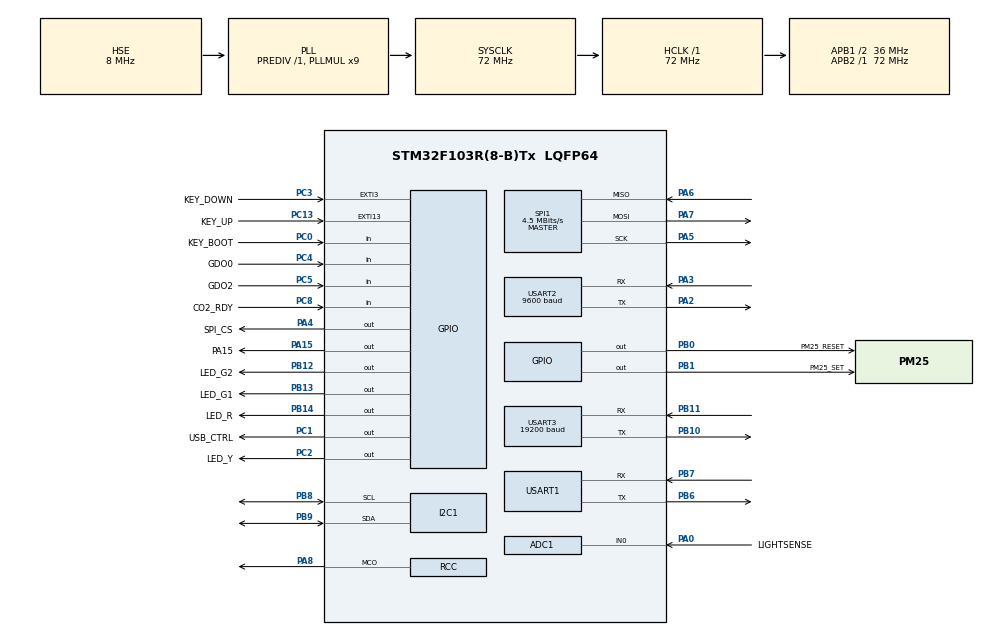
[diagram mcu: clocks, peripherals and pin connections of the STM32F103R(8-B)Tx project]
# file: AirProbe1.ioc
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ADC1.Channel-0\#ChannelRegularConversion=ADC_CHANNEL_0
ADC1.NbrOfConversionFlag=1
ADC1.Rank-0\#ChannelRegularConversion=1
ADC1.SamplingTime-0\#ChannelRegularConversion=ADC_SAMPLETIME_28CYCLES_5
ADC1.master=1
Mcu.Family=STM32F1
Mcu.Name=STM32F103R(8-B)Tx
Mcu.Package=LQFP64
NVIC.EXTI15_10_IRQn=true\:0\:0\:false\:false\:true\:true\:true
NVIC.EXTI3_IRQn=true\:0\:0\:false\:false\:true\:true\:true
NVIC.PriorityGroup=NVIC_PRIORITYGROUP_4
NVIC.USART1_IRQn=true\:0\:0\:false\:false\:true\:true\:true
NVIC.USART2_IRQn=true\:0\:0\:false\:false\:true\:true\:true
PA0-WKUP.GPIO_Label=LIGHTSENSE
PA0-WKUP.Signal=ADCx_IN0
PA13.Mode=Serial_Wire
PA13.Signal=SYS_JTMS-SWDIO
PA14.Mode=Serial_Wire
PA14.Signal=SYS_JTCK-SWCLK
PA15.GPIO_Label=PA15
PA15.GPIO_Speed=GPIO_SPEED_FREQ_HIGH
PA15.Signal=GPIO_Output
PA2.Mode=Asynchronous
PA2.Signal=USART2_TX
PA3.Mode=Asynchronous
PA3.Signal=USART2_RX
PA4.GPIO_Label=SPI_CS
PA4.GPIO_Speed=GPIO_SPEED_FREQ_HIGH
PA4.PinState=GPIO_PIN_SET
PA4.Signal=GPIO_Output
PA5.Mode=Full_Duplex_Master
PA5.Signal=SPI1_SCK
PA6.Mode=Full_Duplex_Master
PA6.Signal=SPI1_MISO
PA7.Mode=Full_Duplex_Master
PA7.Signal=SPI1_MOSI
PA8.Mode=Clock-out
PA8.Signal=RCC_MCO
PB0.GPIO_Label=PM25_RESET
PB0.PinState=GPIO_PIN_RESET
PB0.Signal=GPIO_Output
PB1.GPIO_Label=PM25_SET
PB1.PinState=GPIO_PIN_RESET
PB1.Signal=GPIO_Output
PB10.Mode=Asynchronous
PB10.Signal=USART3_TX
PB11.Mode=Asynchronous
PB11.Signal=USART3_RX
PB12.GPIO_Label=LED_G2
PB12.GPIO_Speed=GPIO_SPEED_FREQ_HIGH
PB12.PinState=GPIO_PIN_SET
PB12.Signal=GPIO_Output
PB13.GPIO_Label=LED_G1
PB13.GPIO_Speed=GPIO_SPEED_FREQ_HIGH
PB13.PinState=GPIO_PIN_SET
PB13.Signal=GPIO_Output
PB14.GPIO_Label=LED_R
PB14.GPIO_Speed=GPIO_SPEED_FREQ_HIGH
PB14.PinState=GPIO_PIN_SET
PB14.Signal=GPIO_Output
PB6.Mode=Asynchronous
PB6.Signal=USART1_TX
PB7.Mode=Asynchronous
PB7.Signal=USART1_RX
PB8.Mode=I2C
PB8.Signal=I2C1_SCL
PB9.Mode=I2C
PB9.Signal=I2C1_SDA
PC0.GPIO_Label=KEY_BOOT
PC0.GPIO_PuPd=GPIO_PULLUP
PC0.Signal=GPIO_Input
PC1.GPIO_Label=USB_CTRL
PC1.GPIO_Speed=GPIO_SPEED_FREQ_MEDIUM
PC1.PinState=GPIO_PIN_SET
PC1.Signal=GPIO_Output
PC13-TAMPER-RTC.GPIO_Label=KEY_UP
PC13-TAMPER-RTC.GPIO_ModeDefaultEXTI=GPIO_MODE_IT_RISING_FALLING
PC13-TAMPER-RTC.GPIO_PuPd=GPIO_PULLUP
PC13-TAMPER-RTC.Signal=GPXTI13
PC14-OSC32_IN.Mode=LSE-External-Oscillator
PC14-OSC32_IN.Signal=RCC_OSC32_IN
PC15-OSC32_OUT.Mode=LSE-External-Oscillator
PC15-OSC32_OUT.Signal=RCC_OSC32_OUT
PC2.GPIO_Label=LED_Y
PC2.GPIO_Speed=GPIO_SPEED_FREQ_HIGH
PC2.PinState=GPIO_PIN_SET
PC2.Signal=GPIO_Output
PC3.GPIO_Label=KEY_DOWN
PC3.GPIO_ModeDefaultEXTI=GPIO_MODE_IT_RISING_FALLING
PC3.GPIO_PuPd=GPIO_PULLUP
PC3.Signal=GPXTI3
PC4.GPIO_Label=GDO0
PC4.Signal=GPIO_Input
PC5.GPIO_Label=GDO2
PC5.Signal=GPIO_Input
PC8.GPIO_Label=CO2_RDY
PC8.Signal=GPIO_Input
PD0-OSC_IN.Mode=HSE-External-Oscillator
PD0-OSC_IN.Signal=RCC_OSC_IN
PD1-OSC_OUT.Mode=HSE-External-Oscillator
PD1-OSC_OUT.Signal=RCC_OSC_OUT
ProjectManager.HeapSize=0x200
ProjectManager.StackSize=0x800
ProjectManager.TargetToolchain=STM32CubeIDE
RCC.ADCPresc=RCC_ADCPCLK2_DIV6
RCC.AHBFreq_Value=72000000
RCC.APB1CLKDivider=RCC_HCLK_DIV2
RCC.APB1Freq_Value=36000000
RCC.APB1TimFreq_Value=72000000
RCC.APB2Freq_Value=72000000
RCC.APB2TimFreq_Value=72000000
RCC.HCLKFreq_Value=72000000
RCC.PLLMUL=RCC_PLL_MUL9
RCC.PLLSourceVirtual=RCC_PLLSOURCE_HSE
RCC.RCC_MCOSource=RCC_MCO1SOURCE_HSE
RCC.SYSCLKFreq_VALUE=72000000
RCC.SYSCLKSource=RCC_SYSCLKSOURCE_PLLCLK
RCC.USBFreq_Value=48000000
RCC.USBPrescaler=RCC_USBCLKSOURCE_PLL_DIV1_5
SH.ADCx_IN0.0=ADC1_IN0,IN0
SPI1.BaudRatePrescaler=SPI_BAUDRATEPRESCALER_16
SPI1.CalculateBaudRate=4.5 MBits/s
SPI1.Direction=SPI_DIRECTION_2LINES
SPI1.Mode=SPI_MODE_MASTER
SPI1.VirtualType=VM_MASTER
TIM1.Prescaler=9-1
USART1.VirtualMode=VM_ASYNC
USART2.BaudRate=9600
USART2.Mode=MODE_TX_RX
USART2.VirtualMode=VM_ASYNC
USART3.BaudRate=19200
USART3.VirtualMode=VM_ASYNC
VP_TIM1_VS_ClockSourceINT.Mode=Internal
board=custom

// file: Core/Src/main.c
/* USER CODE BEGIN Header */
/**
  ******************************************************************************
  * @file           : main.c
  * @brief          : Main program body
  ******************************************************************************
  * @attention
  *
  * <h2><center>&copy; Copyright (c) 2022 STMicroelectronics.
  * All rights reserved.</center></h2>
  *
  * This software component is licensed by ST under BSD 3-Clause license,
  * the "License"; You may not use this file except in compliance with the
  * License. You may obtain a copy of the License at:
  *                        opensource.org/licenses/BSD-3-Clause
  *
  ******************************************************************************
  */
/* USER CODE END Header */
#include "main.h"

/* USER CODE BEGIN Includes */
#include "stdio.h"
#include "bsp.h"
#include "config.h"

#ifdef CONFIG_ENABLE_PCN
    #include "cc1101.h"
#endif
/* USER CODE END Includes */

ADC_HandleTypeDef hadc1;

I2C_HandleTypeDef hi2c1;

SPI_HandleTypeDef hspi1;

TIM_HandleTypeDef htim1;

UART_HandleTypeDef huart1;
UART_HandleTypeDef huart2;
UART_HandleTypeDef huart3;

/* USER CODE BEGIN PV */
uint8_t uart_rx_buf = 0;
int     uart2_rx_error = 0;
//uint8_t uart2_rx_buf[40];

typedef union
{
  uint8_t u8[2];
  uint16_t u16;
} int2byte;

volatile int pm25_value = 0;
volatile int co2_ppm = 0;
volatile int co2_temp = 0;
volatile int co2_humi = 0;
int system_config_mode = 0;
int system_error = 0;
extern volatile int key_down_press_type;
extern volatile int key_up_press_type;

struct eerom_content_s eerom_cfg;
int menu_update_next = 0;
int diag_mode = 0;

int uart2_irq_count = 0;
unsigned int run_time_count = 0;
unsigned int last_time_count_ms = 0;

struct uart2_buffer_s
{
    #define UART2_MAX_BUFFER 40
    uint8_t ptr;
    uint8_t rx_data;
    uint8_t data[UART2_MAX_BUFFER];

} uart2_buffer;

/* USER CODE END PV */

void SystemClock_Config(void);
static void MX_GPIO_Init(void);
static void MX_USART1_UART_Init(void);
static void MX_SPI1_Init(void);
static void MX_TIM1_Init(void);
static void MX_I2C1_Init(void);
static void MX_ADC1_Init(void);
static void MX_USART2_UART_Init(void);
static void MX_USART3_UART_Init(void);
/* USER CODE BEGIN PFP */

void u2_buffer_dump()
{
    int i = 0;
    PrintDBG("Dump:\r\n");
    for(i = 0; i < 32; i++)
    {
        PrintDBG("0x%x ", uart2_buffer.data[i]);
    }
    PrintDBG("\r\n");
}

#define USART_IT_PE ((uint16_t)0x0028)
#define USART_IT_TXE ((uint16_t)0x0727)
#define USART_IT_TC ((uint16_t)0x0626)
#define USART_IT_RXNE ((uint16_t)0x0525)
#define USART_IT_IDLE ((uint16_t)0x0424)
#define USART_IT_LBD ((uint16_t)0x0846)
#define USART_IT_CTS ((uint16_t)0x096A)
#define USART_IT_ERR ((uint16_t)0x0060)
#define USART_IT_ORE ((uint16_t)0x0360)
#define USART_IT_NE ((uint16_t)0x0260)
#define USART_IT_FE ((uint16_t)0x0160)

#define IT_Mask ((uint16_t)0x001F) /*!< USART Interrupt Mask */

#define USART_FLAG_CTS ((uint16_t)0x0200)
#define USART_FLAG_LBD ((uint16_t)0x0100)
#define USART_FLAG_TXE ((uint16_t)0x0080)
#define USART_FLAG_TC ((uint16_t)0x0040)
#define USART_FLAG_RXNE ((uint16_t)0x0020)
#define USART_FLAG_IDLE ((uint16_t)0x0010)
#define USART_FLAG_ORE ((uint16_t)0x0008)
#define USART_FLAG_NE ((uint16_t)0x0004)
#define USART_FLAG_FE ((uint16_t)0x0002)
#define USART_FLAG_PE ((uint16_t)0x0001)
#define IS_USART_FLAG(FLAG) (((FLAG) == USART_FLAG_PE) || ((FLAG) == USART_FLAG_TXE) ||   \
                             ((FLAG) == USART_FLAG_TC) || ((FLAG) == USART_FLAG_RXNE) ||  \
                             ((FLAG) == USART_FLAG_IDLE) || ((FLAG) == USART_FLAG_LBD) || \
                             ((FLAG) == USART_FLAG_CTS) || ((FLAG) == USART_FLAG_ORE) ||  \
                             ((FLAG) == USART_FLAG_NE) || ((FLAG) == USART_FLAG_FE))

#define IS_USART_CLEAR_FLAG(FLAG) ((((FLAG) & (uint16_t)0xFC9F) == 0x00) && ((FLAG) != (uint16_t)0x00))
#define IS_USART_PERIPH_FLAG(PERIPH, USART_FLAG) ((((*(uint32_t *)&(PERIPH)) != UART4_BASE) &&  \
                                                   ((*(uint32_t *)&(PERIPH)) != UART5_BASE)) || \
                                                  ((USART_FLAG) != USART_FLAG_CTS))
#define IS_USART_BAUDRATE(BAUDRATE) (((BAUDRATE) > 0) && ((BAUDRATE) < 0x0044AA21))
#define IS_USART_ADDRESS(ADDRESS) ((ADDRESS) <= 0xF)
#define IS_USART_DATA(DATA) ((DATA) <= 0x1FF)

ITStatus USART_GetITStatus(USART_TypeDef *USARTx, uint16_t USART_IT)
{
    uint32_t bitpos = 0x00, itmask = 0x00, usartreg = 0x00;
    ITStatus bitstatus = RESET;
    /* Check the parameters */
    assert_param(IS_USART_ALL_PERIPH(USARTx));
    assert_param(IS_USART_GET_IT(USART_IT));
    /* The CTS interrupt is not available for UART4 and UART5 */
    if (USART_IT == USART_IT_CTS)
    {
        assert_param(IS_USART_123_PERIPH(USARTx));
    }

    /* Get the USART register index */
    usartreg = (((uint8_t)USART_IT) >> 0x05);
    /* Get the interrupt position */
    itmask = USART_IT & IT_Mask;
    itmask = (uint32_t)0x01 << itmask;

    if (usartreg == 0x01) /* The IT  is in CR1 register */
    {
        itmask &= USARTx->CR1;
    }
    else if (usartreg == 0x02) /* The IT  is in CR2 register */
    {
        itmask &= USARTx->CR2;
    }
    else /* The IT  is in CR3 register */
    {
        itmask &= USARTx->CR3;
    }

    bitpos = USART_IT >> 0x08;
    bitpos = (uint32_t)0x01 << bitpos;
    bitpos &= USARTx->SR;
    if ((itmask != (uint16_t)RESET) && (bitpos != (uint16_t)RESET))
    {
        bitstatus = SET;
    }
    else
    {
        bitstatus = RESET;
    }

    return bitstatus;
}

uint16_t USART_ReceiveData(USART_TypeDef *USARTx)
{
    /* Check the parameters */
    assert_param(IS_USART_ALL_PERIPH(USARTx));

    /* Receive Data */
    return (uint16_t)(USARTx->DR & (uint16_t)0x01FF);
}

void USART_ClearFlag(USART_TypeDef *USARTx, uint16_t USART_FLAG)
{
    /* Check the parameters */
    assert_param(IS_USART_ALL_PERIPH(USARTx));
    assert_param(IS_USART_CLEAR_FLAG(USART_FLAG));
    /* The CTS flag is not available for UART4 and UART5 */
    if ((USART_FLAG & USART_FLAG_CTS) == USART_FLAG_CTS)
    {
        assert_param(IS_USART_123_PERIPH(USARTx));
    }

    USARTx->SR = (uint16_t)~USART_FLAG;
}

void USART_ITConfig(USART_TypeDef *USARTx, uint16_t USART_IT, FunctionalState NewState)
{
    uint32_t usartreg = 0x00, itpos = 0x00, itmask = 0x00;
    uint32_t usartxbase = 0x00;
    /* Check the parameters */
    assert_param(IS_USART_ALL_PERIPH(USARTx));
    assert_param(IS_USART_CONFIG_IT(USART_IT));
    assert_param(IS_FUNCTIONAL_STATE(NewState));
    /* The CTS interrupt is not available for UART4 and UART5 */
    if (USART_IT == USART_IT_CTS)
    {
        assert_param(IS_USART_123_PERIPH(USARTx));
    }

    usartxbase = (uint32_t)USARTx;

    /* Get the USART register index */
    usartreg = (((uint8_t)USART_IT) >> 0x05);

    /* Get the interrupt position */
    itpos = USART_IT & IT_Mask;
    itmask = (((uint32_t)0x01) << itpos);

    if (usartreg == 0x01) /* The IT is in CR1 register */
    {
        usartxbase += 0x0C;
    }
    else if (usartreg == 0x02) /* The IT is in CR2 register */
    {
        usartxbase += 0x10;
    }
    else /* The IT is in CR3 register */
    {
        usartxbase += 0x14;
    }
    if (NewState != DISABLE)
    {
        *(__IO uint32_t *)usartxbase |= itmask;
    }
    else
    {
        *(__IO uint32_t *)usartxbase &= ~itmask;
    }
}

#define CR1_UE_Set ((uint16_t)0x2000)   /*!< USART Enable Mask */
#define CR1_UE_Reset ((uint16_t)0xDFFF) /*!< USART Disable Mask */

void USART_Cmd(USART_TypeDef *USARTx, FunctionalState NewState)
{
    /* Check the parameters */
    assert_param(IS_USART_ALL_PERIPH(USARTx));
    assert_param(IS_FUNCTIONAL_STATE(NewState));

    if (NewState != DISABLE)
    {
        /* Enable the selected USART by setting the UE bit in the CR1 register */
        USARTx->CR1 |= CR1_UE_Set;
    }
    else
    {
        /* Disable the selected USART by clearing the UE bit in the CR1 register */
        USARTx->CR1 &= CR1_UE_Reset;
    }
}

void Process_UART2_Rx()
{
    uint8_t getdata = 0;
    uint8_t i = 0;
    uint16_t addsum = 0, addsum2 = 0;
    uint16_t value = 0;

    if (USART_GetITStatus(USART2, USART_IT_RXNE) != RESET)
    {
        getdata = USART_ReceiveData(USART2);
        if (uart2_buffer.ptr == 0)
        {
            if (getdata == 0x42)
            {
                uart2_buffer.data[uart2_buffer.ptr] = getdata;
                uart2_buffer.ptr++;
            }
        }
        else if (uart2_buffer.ptr == 1)
        {
            if (getdata == 0x4d)
            {
                uart2_buffer.data[uart2_buffer.ptr] = getdata;
                uart2_buffer.ptr++;
            }
            else
            {
                uart2_buffer.ptr = 0;
            }
        }
        else if ((uart2_buffer.ptr > 1) && (uart2_buffer.ptr < 32))
        {
            uart2_buffer.data[uart2_buffer.ptr] = getdata;
            uart2_buffer.ptr++;
        }
        else if (uart2_buffer.ptr == 32)
        {
            for (i = 0; i < 30; i++)
            {
                addsum += uart2_buffer.data[i];
            }

            addsum2 = (uart2_buffer.data[30] << 8) | (uart2_buffer.data[31]);
            if (addsum != addsum2)
            {
                uart2_rx_error++;
                //if (uart2_rx_error >= 5)
                {
                    system_error |= SYS_ERROR_FLAG_PM25_EFRAME;
                    HAL_GPIO_WritePin(LED_R_GPIO_Port, LED_R_Pin, GPIO_PIN_RESET);
                    PrintERR("U2 Frame Error\r\n");
                    u2_buffer_dump();
                }
            }
            else
            {
                value = (uart2_buffer.data[12] << 8) | uart2_buffer.data[13];
                pm25_value = value;
                //uart2_rx_error = 0;

                HAL_GPIO_TogglePin(LED_G1_GPIO_Port, LED_G1_Pin);
            }

            for (i = 0; i < UART2_MAX_BUFFER; i++)
                uart2_buffer.data[i] = 0;
            uart2_buffer.ptr = 0;
        }
    }

    USART_ClearFlag(USART2, USART_FLAG_RXNE);
}

/* USER CODE END PFP */

/* USER CODE BEGIN 0 */
#ifdef __GNUC__
int __io_putchar(int ch)
{
  HAL_UART_Transmit(&huart1, (uint8_t *)&ch, 1, 0xffff);
  //CDC_Transmit_FS((uint8_t *)&ch, 1);
  return ch;
}
#else
int fputc(int ch, FILE *stream)
{
  HAL_UART_Transmit(&huart1, (uint8_t *)&ch, 1, 0xffff);
  return ch;
}
#endif

/* USER CODE END 0 */

int main(void)
{
  /* USER CODE BEGIN 1 */
    int err = 0;
  /* USER CODE END 1 */

  /* MCU Configuration--------------------------------------------------------*/

  /* Reset of all peripherals, Initializes the Flash interface and the Systick. */
  HAL_Init();

  /* Configure the system clock */
  SystemClock_Config();

  /* Initialize all configured peripherals */
  MX_GPIO_Init();
  MX_USART1_UART_Init();
  MX_SPI1_Init();
  MX_TIM1_Init();
  MX_I2C1_Init();
  MX_ADC1_Init();
  MX_USART2_UART_Init();
  MX_USART3_UART_Init();
  /* USER CODE BEGIN 2 */

    //Read EEROM CONFIG
  err = eerom_boot_init(&eerom_cfg);
  if(err < 0)
  {
      PrintERR("ERROR:Invalid EEROM\r\n");
      PrintERR("Revert to factory\r\n");
      system_error |= SYS_ERROR_FLAG_ROM;
      HAL_GPIO_WritePin(LED_R_GPIO_Port, LED_R_Pin, GPIO_PIN_RESET);
  }

    //Init PM25
    PrintDBG("Init PM25\r\n");
    //PM25RESET(GPIO_PIN_SET);

    HAL_Delay(100);

    //HAL_UART_Receive(&huart2, (uint8_t *)uart2_buffer.data, 32, 1);  //flush uart
    PM25SET(GPIO_PIN_SET);
    for (int dd = 0; dd < 32; dd++)
        uart2_buffer.data[dd] = 0;
    uart2_buffer.ptr = 0;
    //HAL_UART_Receive_IT(&huart2, (uint8_t *)&uart2_buffer.rx_data, 1);

    USART_ITConfig(USART2, USART_IT_RXNE, ENABLE);
    USART_Cmd(USART2, ENABLE);
    USART_ClearFlag(USART2, USART_FLAG_TXE);
    //USART_ClearFlag(USART2, USART_FLAG_TXE);

#ifdef CONFIG_ENALBE_CO2
    //Init CO2
    co2_init();
    HAL_Delay(100);
    co2_enable(1);
#endif

  /* USER CODE END 2 */

  /* Infinite loop */
  /* USER CODE BEGIN WHILE */
    //Init LCD
    lcd_reset();
#if 0
    lcd_switch_page(LCD_PAGE_INIT);
    lcd_update_init_page(0);
#endif
    PrintDBG("Start Loop\r\n");

    float co2=0.0, temp=0.0, hm=0.0;
    int ret = 0;
#ifdef CONFIG_ENALBE_CO2
    co2_getdata(&co2, &temp, &hm, 1);
#endif
    unsigned int cnt = 0;
    //Init page
    int loop_cnt = 0;
    int init_progress = 0;

    if (eerom_cfg.auto_bl_en == 0)
        lcd_set_fix_bl(eerom_cfg.fix_bl_val);

#if 1
    while(1)
    {
        cnt = HAL_GetTick();
        if ((cnt % 100) == 0)
        {
            if (init_progress >= 100)
                init_progress = 100;
            lcd_update_init_page(init_progress);
            init_progress++;
        }

        if ((cnt % 1000) == 0)
        {
            loop_cnt++;
            if (loop_cnt > 10)
                break;
#ifdef CONFIG_ENALBE_CO2
            ret = co2_getdata(&co2, &temp, &hm, 0);
            if (ret != 0)
            {
                HAL_GPIO_WritePin(LED_R_GPIO_Port, LED_R_Pin, GPIO_PIN_RESET);
                system_error |= SYS_ERROR_FLAG_CO2;
            }
#endif
            HAL_GPIO_TogglePin(LED_G2_GPIO_Port, LED_G2_Pin);
        }

    }
    HAL_Delay(200);
#else
    HAL_Delay(1000);
#endif

    lcd_switch_page(LCD_PAGE_ALL);

    loop_cnt = 0;
    unsigned int last_tick_val = -1;
    //int config_mode_entry_cnt = 0;
    while (1)
    {
        if ((key_down_press_type == KEY_PRESS_LONG))
        {
            if(0 != HAL_GPIO_ReadPin(KEY_UP_GPIO_Port, KEY_UP_Pin))
            {
                key_down_press_type = KEY_PRESS_NONE;
                key_up_press_type = KEY_PRESS_NONE;
            }
            else
            {
                while(1)
                {
                    if (key_up_press_type != KEY_PRESS_NONE)
                        break;
                    HAL_Delay(1);
                }
                key_down_press_type = KEY_PRESS_NONE;
                key_up_press_type = KEY_PRESS_NONE;
                config_mode();
            }

        }

#if 1
        if((key_down_press_type != KEY_PRESS_NONE) || (key_up_press_type != KEY_PRESS_NONE))
        {
            key_down_press_type = KEY_PRESS_NONE;
            key_up_press_type = KEY_PRESS_NONE;
        }
#endif

        if(system_config_mode != 0)
            continue;

        cnt = HAL_GetTick();

        if(cnt == last_tick_val)
            continue;
        last_tick_val = cnt;

#if 0
        if ((cnt % 300) == 0)
        {
            HAL_GPIO_TogglePin(LED_G2_GPIO_Port, LED_G2_Pin);
        }
#endif

        if ((cnt % 1000) == 0)
        {
            loop_cnt++;
            if(loop_cnt == 50)
            {
                sensor_stable(1);
            }
            PrintDBG("PM25= %d ug/m3, cnt=%d\r\n", pm25_value, uart2_irq_count);
            if(system_error)
            {
                PrintERR("System Error:0x%x\r\n", system_error);
            }
            //Update LCD
            float temp_ofst = 0.0;
            int hm_ofst = 0;
            if(eerom_cfg.temp_offset == 0x0 || eerom_cfg.temp_offset == 0x80)
            {
                temp_ofst = 0.0;
            }
            else
            {
                if ((eerom_cfg.temp_offset & 0x80) != 0)
                {
                    int tmp = (-1) * (eerom_cfg.temp_offset & 0x7f);
                    temp_ofst = ((float)tmp / 10.0);
                }
                else
                {
                    int tmp = (eerom_cfg.temp_offset & 0x7f);
                    temp_ofst = ((float)tmp / 10.0);
                }
            }

            if(eerom_cfg.hm_offset == 0x0 || eerom_cfg.hm_offset == 0x80)
            {
                hm_ofst = 0;
            }
            else
            {
                if ((eerom_cfg.hm_offset & 0x80) != 0)
                {
                    hm_ofst = (-1) * (eerom_cfg.hm_offset & 0x7f);
                }
                else
                {
                    hm_ofst = (eerom_cfg.hm_offset & 0x7f);
                }
            }

            //temp += temp_ofst;
            //hm += hm_ofst;

            if(diag_mode)
            {
                lcd_show_diag_page(co2, temp, hm);
            }
            else
            {
                lcd_update_main(pm25_value, (int)(co2 + 0.5), (int)(temp + temp_ofst + 0.5), (int)(hm + 0.5 + hm_ofst));
            }

            run_time_count++;
            if(run_time_count >= 600)
            {
                eerom_write_increase_time(1);
                run_time_count = 0;
            }
        }

#ifdef CONFIG_ENALBE_CO2
        if((cnt % 2000) == 0)
        {
            ret = co2_getdata(&co2, &temp, &hm, 0);
            if (ret == 0)
            {
                PrintDBG("CO2=%.fppm  Temp=%.1f'C  HM=%.f%%\r\n", co2, temp, hm);
            }
            else
            {
                HAL_GPIO_WritePin(LED_R_GPIO_Port, LED_R_Pin, GPIO_PIN_RESET);
                system_error |= SYS_ERROR_FLAG_CO2;
            }
        }
#endif
    /* USER CODE END WHILE */

  }
}

void SystemClock_Config(void)
{
  RCC_OscInitTypeDef RCC_OscInitStruct = {0};
  RCC_ClkInitTypeDef RCC_ClkInitStruct = {0};
  RCC_PeriphCLKInitTypeDef PeriphClkInit = {0};

  /** Initializes the RCC Oscillators according to the specified parameters
  * in the RCC_OscInitTypeDef structure.
  */
  RCC_OscInitStruct.OscillatorType = RCC_OSCILLATORTYPE_HSE;
  RCC_OscInitStruct.HSEState = RCC_HSE_ON;
  RCC_OscInitStruct.HSEPredivValue = RCC_HSE_PREDIV_DIV1;
  RCC_OscInitStruct.HSIState = RCC_HSI_ON;
  RCC_OscInitStruct.PLL.PLLState = RCC_PLL_ON;
  RCC_OscInitStruct.PLL.PLLSource = RCC_PLLSOURCE_HSE;
  RCC_OscInitStruct.PLL.PLLMUL = RCC_PLL_MUL9;
  if (HAL_RCC_OscConfig(&RCC_OscInitStruct) != HAL_OK)
  {
    Error_Handler();
  }
  /** Initializes the CPU, AHB and APB buses clocks
  */
  RCC_ClkInitStruct.ClockType = RCC_CLOCKTYPE_HCLK|RCC_CLOCKTYPE_SYSCLK
                              |RCC_CLOCKTYPE_PCLK1|RCC_CLOCKTYPE_PCLK2;
  RCC_ClkInitStruct.SYSCLKSource = RCC_SYSCLKSOURCE_PLLCLK;
  RCC_ClkInitStruct.AHBCLKDivider = RCC_SYSCLK_DIV1;
  RCC_ClkInitStruct.APB1CLKDivider = RCC_HCLK_DIV2;
  RCC_ClkInitStruct.APB2CLKDivider = RCC_HCLK_DIV1;

  if (HAL_RCC_ClockConfig(&RCC_ClkInitStruct, FLASH_LATENCY_2) != HAL_OK)
  {
    Error_Handler();
  }
  PeriphClkInit.PeriphClockSelection = RCC_PERIPHCLK_ADC;
  PeriphClkInit.AdcClockSelection = RCC_ADCPCLK2_DIV6;
  if (HAL_RCCEx_PeriphCLKConfig(&PeriphClkInit) != HAL_OK)
  {
    Error_Handler();
  }
  HAL_RCC_MCOConfig(RCC_MCO, RCC_MCO1SOURCE_HSE, RCC_MCODIV_1);
}

static void MX_ADC1_Init(void)
{

  ADC_ChannelConfTypeDef sConfig = {0};

  /** Common config
  */
  hadc1.Instance = ADC1;
  hadc1.Init.ScanConvMode = ADC_SCAN_DISABLE;
  hadc1.Init.ContinuousConvMode = DISABLE;
  hadc1.Init.DiscontinuousConvMode = DISABLE;
  hadc1.Init.ExternalTrigConv = ADC_SOFTWARE_START;
  hadc1.Init.DataAlign = ADC_DATAALIGN_RIGHT;
  hadc1.Init.NbrOfConversion = 1;
  if (HAL_ADC_Init(&hadc1) != HAL_OK)
  {
    Error_Handler();
  }
  /** Configure Regular Channel
  */
  sConfig.Channel = ADC_CHANNEL_0;
  sConfig.Rank = ADC_REGULAR_RANK_1;
  sConfig.SamplingTime = ADC_SAMPLETIME_28CYCLES_5;
  if (HAL_ADC_ConfigChannel(&hadc1, &sConfig) != HAL_OK)
  {
    Error_Handler();
  }

}

static void MX_I2C1_Init(void)
{

  hi2c1.Instance = I2C1;
  hi2c1.Init.ClockSpeed = 100000;
  hi2c1.Init.DutyCycle = I2C_DUTYCYCLE_2;
  hi2c1.Init.OwnAddress1 = 0;
  hi2c1.Init.AddressingMode = I2C_ADDRESSINGMODE_7BIT;
  hi2c1.Init.DualAddressMode = I2C_DUALADDRESS_DISABLE;
  hi2c1.Init.OwnAddress2 = 0;
  hi2c1.Init.GeneralCallMode = I2C_GENERALCALL_DISABLE;
  hi2c1.Init.NoStretchMode = I2C_NOSTRETCH_DISABLE;
  if (HAL_I2C_Init(&hi2c1) != HAL_OK)
  {
    Error_Handler();
  }

}

static void MX_SPI1_Init(void)
{

  /* SPI1 parameter configuration*/
  hspi1.Instance = SPI1;
  hspi1.Init.Mode = SPI_MODE_MASTER;
  hspi1.Init.Direction = SPI_DIRECTION_2LINES;
  hspi1.Init.DataSize = SPI_DATASIZE_8BIT;
  hspi1.Init.CLKPolarity = SPI_POLARITY_LOW;
  hspi1.Init.CLKPhase = SPI_PHASE_1EDGE;
  hspi1.Init.NSS = SPI_NSS_SOFT;
  hspi1.Init.BaudRatePrescaler = SPI_BAUDRATEPRESCALER_16;
  hspi1.Init.FirstBit = SPI_FIRSTBIT_MSB;
  hspi1.Init.TIMode = SPI_TIMODE_DISABLE;
  hspi1.Init.CRCCalculation = SPI_CRCCALCULATION_DISABLE;
  hspi1.Init.CRCPolynomial = 10;
  if (HAL_SPI_Init(&hspi1) != HAL_OK)
  {
    Error_Handler();
  }

}

static void MX_TIM1_Init(void)
{

  TIM_ClockConfigTypeDef sClockSourceConfig = {0};
  TIM_MasterConfigTypeDef sMasterConfig = {0};

  htim1.Instance = TIM1;
  htim1.Init.Prescaler = 9-1;
  htim1.Init.CounterMode = TIM_COUNTERMODE_UP;
  htim1.Init.Period = 65535;
  htim1.Init.ClockDivision = TIM_CLOCKDIVISION_DIV1;
  htim1.Init.RepetitionCounter = 0;
  htim1.Init.AutoReloadPreload = TIM_AUTORELOAD_PRELOAD_DISABLE;
  if (HAL_TIM_Base_Init(&htim1) != HAL_OK)
  {
    Error_Handler();
  }
  sClockSourceConfig.ClockSource = TIM_CLOCKSOURCE_INTERNAL;
  if (HAL_TIM_ConfigClockSource(&htim1, &sClockSourceConfig) != HAL_OK)
  {
    Error_Handler();
  }
  sMasterConfig.MasterOutputTrigger = TIM_TRGO_RESET;
  sMasterConfig.MasterSlaveMode = TIM_MASTERSLAVEMODE_DISABLE;
  if (HAL_TIMEx_MasterConfigSynchronization(&htim1, &sMasterConfig) != HAL_OK)
  {
    Error_Handler();
  }

}

static void MX_USART1_UART_Init(void)
{

  huart1.Instance = USART1;
  huart1.Init.BaudRate = 115200;
  huart1.Init.WordLength = UART_WORDLENGTH_8B;
  huart1.Init.StopBits = UART_STOPBITS_1;
  huart1.Init.Parity = UART_PARITY_NONE;
  huart1.Init.Mode = UART_MODE_TX_RX;
  huart1.Init.HwFlowCtl = UART_HWCONTROL_NONE;
  huart1.Init.OverSampling = UART_OVERSAMPLING_16;
  if (HAL_UART_Init(&huart1) != HAL_OK)
  {
    Error_Handler();
  }
  /* USER CODE BEGIN USART1_Init 2 */
  HAL_UART_Receive_IT(&huart1, (uint8_t *)&uart_rx_buf, 1);
  /* USER CODE END USART1_Init 2 */

}

static void MX_USART2_UART_Init(void)
{

  huart2.Instance = USART2;
  huart2.Init.BaudRate = 9600;
  huart2.Init.WordLength = UART_WORDLENGTH_8B;
  huart2.Init.StopBits = UART_STOPBITS_1;
  huart2.Init.Parity = UART_PARITY_NONE;
  huart2.Init.Mode = UART_MODE_TX_RX;
  huart2.Init.HwFlowCtl = UART_HWCONTROL_NONE;
  huart2.Init.OverSampling = UART_OVERSAMPLING_16;
  if (HAL_UART_Init(&huart2) != HAL_OK)
  {
    Error_Handler();
  }
  /* USER CODE BEGIN USART2_Init 2 */
#if 0
  for(int dd = 0; dd < 32; dd++)
      uart2_rx_buf[dd] = 0;
  HAL_UART_Receive_IT(&huart2, (uint8_t *)uart2_rx_buf, 32);
#endif
  /* USER CODE END USART2_Init 2 */

}

static void MX_USART3_UART_Init(void)
{

  huart3.Instance = USART3;
  huart3.Init.BaudRate = 19200;
  huart3.Init.WordLength = UART_WORDLENGTH_8B;
  huart3.Init.StopBits = UART_STOPBITS_1;
  huart3.Init.Parity = UART_PARITY_NONE;
  huart3.Init.Mode = UART_MODE_TX_RX;
  huart3.Init.HwFlowCtl = UART_HWCONTROL_NONE;
  huart3.Init.OverSampling = UART_OVERSAMPLING_16;
  if (HAL_UART_Init(&huart3) != HAL_OK)
  {
    Error_Handler();
  }

}

static void MX_GPIO_Init(void)
{
  GPIO_InitTypeDef GPIO_InitStruct = {0};

  /* GPIO Ports Clock Enable */
  __HAL_RCC_GPIOC_CLK_ENABLE();
  __HAL_RCC_GPIOD_CLK_ENABLE();
  __HAL_RCC_GPIOA_CLK_ENABLE();
  __HAL_RCC_GPIOB_CLK_ENABLE();

  /*Configure GPIO pin Output Level */
  HAL_GPIO_WritePin(GPIOC, USB_CTRL_Pin|LED_Y_Pin, GPIO_PIN_SET);

  /*Configure GPIO pin Output Level */
  HAL_GPIO_WritePin(SPI_CS_GPIO_Port, SPI_CS_Pin, GPIO_PIN_SET);

  /*Configure GPIO pin Output Level */
  HAL_GPIO_WritePin(GPIOB, PM25_RESET_Pin|PM25_SET_Pin, GPIO_PIN_RESET);

  /*Configure GPIO pin Output Level */
  HAL_GPIO_WritePin(GPIOB, LED_G2_Pin|LED_G1_Pin|LED_R_Pin, GPIO_PIN_SET);

  /*Configure GPIO pin Output Level */
  HAL_GPIO_WritePin(PA15_GPIO_Port, PA15_Pin, GPIO_PIN_RESET);

  /*Configure GPIO pins : KEY_UP_Pin KEY_DOWN_Pin */
  GPIO_InitStruct.Pin = KEY_UP_Pin|KEY_DOWN_Pin;
  GPIO_InitStruct.Mode = GPIO_MODE_IT_RISING_FALLING;
  GPIO_InitStruct.Pull = GPIO_PULLUP;
  HAL_GPIO_Init(GPIOC, &GPIO_InitStruct);

  /*Configure GPIO pin : KEY_BOOT_Pin */
  GPIO_InitStruct.Pin = KEY_BOOT_Pin;
  GPIO_InitStruct.Mode = GPIO_MODE_INPUT;
  GPIO_InitStruct.Pull = GPIO_PULLUP;
  HAL_GPIO_Init(KEY_BOOT_GPIO_Port, &GPIO_InitStruct);

  /*Configure GPIO pin : USB_CTRL_Pin */
  GPIO_InitStruct.Pin = USB_CTRL_Pin;
  GPIO_InitStruct.Mode = GPIO_MODE_OUTPUT_PP;
  GPIO_InitStruct.Pull = GPIO_NOPULL;
  GPIO_InitStruct.Speed = GPIO_SPEED_FREQ_MEDIUM;
  HAL_GPIO_Init(USB_CTRL_GPIO_Port, &GPIO_InitStruct);

  /*Configure GPIO pin : LED_Y_Pin */
  GPIO_InitStruct.Pin = LED_Y_Pin;
  GPIO_InitStruct.Mode = GPIO_MODE_OUTPUT_PP;
  GPIO_InitStruct.Pull = GPIO_NOPULL;
  GPIO_InitStruct.Speed = GPIO_SPEED_FREQ_HIGH;
  HAL_GPIO_Init(LED_Y_GPIO_Port, &GPIO_InitStruct);

  /*Configure GPIO pins : SPI_CS_Pin PA15_Pin */
  GPIO_InitStruct.Pin = SPI_CS_Pin|PA15_Pin;
  GPIO_InitStruct.Mode = GPIO_MODE_OUTPUT_PP;
  GPIO_InitStruct.Pull = GPIO_NOPULL;
  GPIO_InitStruct.Speed = GPIO_SPEED_FREQ_HIGH;
  HAL_GPIO_Init(GPIOA, &GPIO_InitStruct);

  /*Configure GPIO pins : GDO0_Pin GDO2_Pin CO2_RDY_Pin */
  GPIO_InitStruct.Pin = GDO0_Pin|GDO2_Pin|CO2_RDY_Pin;
  GPIO_InitStruct.Mode = GPIO_MODE_INPUT;
  GPIO_InitStruct.Pull = GPIO_NOPULL;
  HAL_GPIO_Init(GPIOC, &GPIO_InitStruct);

  /*Configure GPIO pins : PM25_RESET_Pin PM25_SET_Pin */
  GPIO_InitStruct.Pin = PM25_RESET_Pin|PM25_SET_Pin;
  GPIO_InitStruct.Mode = GPIO_MODE_OUTPUT_PP;
  GPIO_InitStruct.Pull = GPIO_NOPULL;
  GPIO_InitStruct.Speed = GPIO_SPEED_FREQ_LOW;
  HAL_GPIO_Init(GPIOB, &GPIO_InitStruct);

  /*Configure GPIO pins : LED_G2_Pin LED_G1_Pin LED_R_Pin */
  GPIO_InitStruct.Pin = LED_G2_Pin|LED_G1_Pin|LED_R_Pin;
  GPIO_InitStruct.Mode = GPIO_MODE_OUTPUT_PP;
  GPIO_InitStruct.Pull = GPIO_NOPULL;
  GPIO_InitStruct.Speed = GPIO_SPEED_FREQ_HIGH;
  HAL_GPIO_Init(GPIOB, &GPIO_InitStruct);

  /*Configure GPIO pin : PA8 */
  GPIO_InitStruct.Pin = GPIO_PIN_8;
  GPIO_InitStruct.Mode = GPIO_MODE_AF_PP;
  GPIO_InitStruct.Speed = GPIO_SPEED_FREQ_LOW;
  HAL_GPIO_Init(GPIOA, &GPIO_InitStruct);

  /* EXTI interrupt init*/
  HAL_NVIC_SetPriority(EXTI3_IRQn, 0, 0);
  HAL_NVIC_EnableIRQ(EXTI3_IRQn);

  HAL_NVIC_SetPriority(EXTI15_10_IRQn, 0, 0);
  HAL_NVIC_EnableIRQ(EXTI15_10_IRQn);

}

void Error_Handler(void)
{
  __disable_irq();
  while (1)
  {
  }
}

/************************ (C) COPYRIGHT STMicroelectronics *****END OF FILE****/
